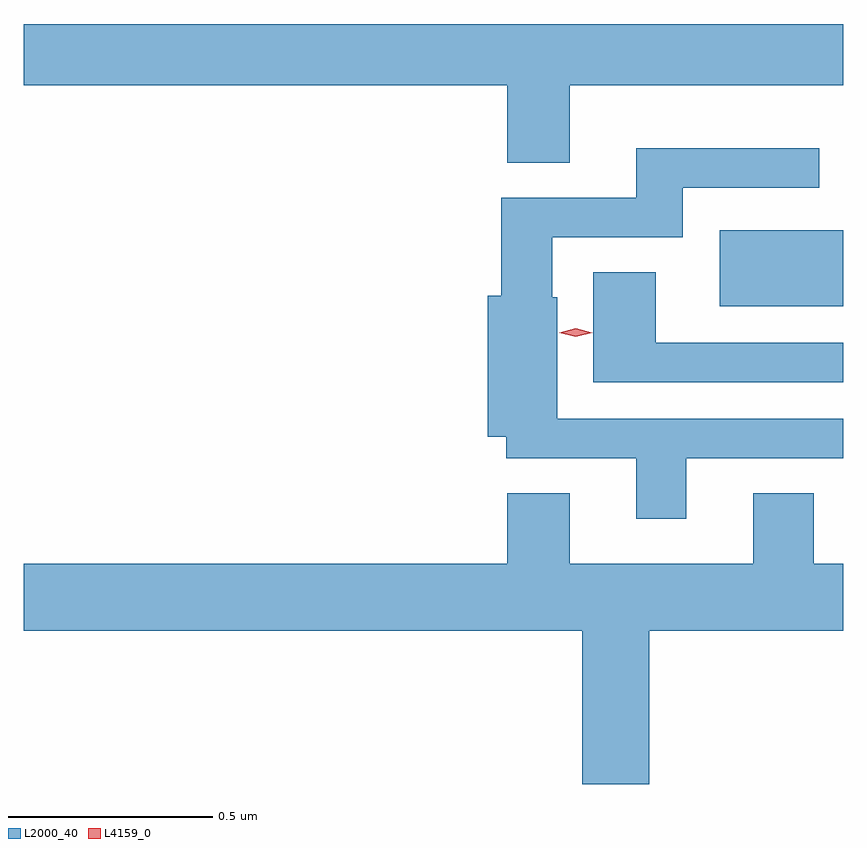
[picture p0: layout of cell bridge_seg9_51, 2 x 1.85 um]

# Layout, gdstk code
import gdstk
lib = gdstk.Library(unit=1e-6, precision=1e-09)
def R(c, l, rs):  # rectangles x0, y0, x1, y1
    for r in rs: c.add(gdstk.rectangle(r[:2], r[2:], *l))
def P(c, l, *ps):  # polygons
    for p in ps: c.add(gdstk.Polygon(p, *l))
L2000_40 = (2000, 40)
L4159_0 = (4159, 0)

bridge_seg9_51 = lib.new_cell('bridge_seg9_51')
R(bridge_seg9_51, L2000_40, [(1064.444,1183.892,1064.745,1184.077)])
P(bridge_seg9_51, L2000_40, [(1064.077,1184.432),(1064.745,1184.432),(1064.745,1184.581),(1062.745,1184.581),(1062.745,1184.432),(1063.925,1184.432),(1063.925,1184.242),(1064.077,1184.242)],
  [(1064.362,1183.521),(1064.745,1183.521),(1064.745,1183.617),(1064.047,1183.617),(1064.047,1183.914),(1064.035,1183.914),(1064.035,1184.061),(1064.353,1184.061),(1064.353,1184.181),(1064.686,1184.181),(1064.686,1184.278),(1064.24,1184.278),(1064.24,1184.157),(1063.91,1184.157),(1063.91,1183.918),(1063.877,1183.918),(1063.877,1183.574),(1063.922,1183.574),(1063.922,1183.521),(1064.24,1183.521),(1064.24,1183.374),(1064.362,1183.374)],
  [(1064.745,1183.803),(1064.287,1183.803),(1064.287,1183.975),(1064.135,1183.975),(1064.135,1183.707),(1064.745,1183.707)],
  [(1064.272,1183.1),(1064.745,1183.1),(1064.745,1183.264),(1064.673,1183.264),(1064.673,1183.436),(1064.525,1183.436),(1064.525,1183.264),(1064.077,1183.264),(1064.077,1183.436),(1063.925,1183.436),(1063.925,1183.264),(1062.745,1183.264),(1062.745,1183.1),(1064.108,1183.1),(1064.108,1182.726),(1064.272,1182.726)])
P(bridge_seg9_51, L4159_0, [(1064.092,1183.818),(1064.052,1183.828),(1064.051,1183.828),(1064.052,1183.828),(1064.092,1183.838),(1064.132,1183.828),(1064.133,1183.828),(1064.132,1183.828)])

lib.write_gds('bridge_seg9_51.gds')
